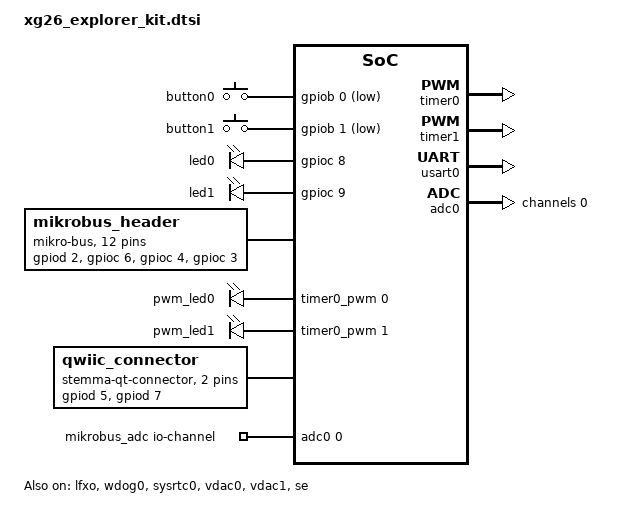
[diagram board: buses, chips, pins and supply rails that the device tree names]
/*
 * Copyright The Zephyr Project Contributors
 *
 * SPDX-License-Identifier: Apache-2.0
 */

#include <dt-bindings/adc/silabs-adc.h>
#include <zephyr/dt-bindings/input/input-event-codes.h>
#include <zephyr/dt-bindings/pwm/pwm.h>
#include <zephyr/dt-bindings/regulator/silabs_dcdc.h>
#include "xg26_explorer_kit-pinctrl.dtsi"

/ {
	chosen {
		zephyr,code-partition = &slot0_partition;
		zephyr,console = &usart0;
		zephyr,flash = &flash0;
		zephyr,shell-uart = &usart0;
		zephyr,sram = &sram0;
		zephyr,uart-pipe = &usart0;
	};

	aliases {
		led0 = &led0;
		led1 = &led1;
		pwm-led0 = &pwm_led0;
		pwm-led1 = &pwm_led1;
		sw0 = &button0;
		sw1 = &button1;
		watchdog0 = &wdog0;

		/* If enabled, MCUboot uses this for recovery mode entrance */
		mcuboot-led0 = &led0;
		mcuboot-button0 = &button0;
	};

	buttons {
		compatible = "gpio-keys";

		button0: button_0 {
			gpios = <&gpiob 0 GPIO_ACTIVE_LOW>;
			zephyr,code = <INPUT_KEY_0>;
		};

		button1: button_1 {
			gpios = <&gpiob 1 GPIO_ACTIVE_LOW>;
			zephyr,code = <INPUT_KEY_1>;
		};
	};

	leds {
		compatible = "gpio-leds";

		led0: led_0 {
			gpios = <&gpioc 8 GPIO_ACTIVE_HIGH>;
		};

		led1: led_1 {
			gpios = <&gpioc 9 GPIO_ACTIVE_HIGH>;
		};
	};

	mikrobus_header: mikrobus-connector {
		compatible = "mikro-bus";
		#gpio-cells = <2>;
		gpio-map-mask = <0xffffffff 0>;
		gpio-map-pass-thru = <0 GPIO_DT_FLAGS_MASK>;
		gpio-map = <0 0 &gpiod 2 0>,  /* AN   */
			   <1 0 &gpioc 6 0>,  /* RST  */
			   <2 0 &gpioc 4 0>,  /* CS   */
			   <3 0 &gpioc 3 0>,  /* SCK  */
			   <4 0 &gpioc 1 0>,  /* MISO */
			   <5 0 &gpioc 2 0>,  /* MOSI */
			   <6 0 &gpioa 7 0>,  /* PWM  */
			   <7 0 &gpioc 0 0>,  /* INT  */
			   <8 0 &gpioa 5 0>,  /* RX   */
			   <9 0 &gpioa 4 0>,  /* TX   */
			   <10 0 &gpiod 5 0>, /* SCL  */
			   <11 0 &gpiod 7 0>; /* SDA  */
	};

	pwmleds {
		compatible = "pwm-leds";

		pwm_led0: pwm_led_0 {
			pwms = <&timer0_pwm 0 PWM_MSEC(20) PWM_POLARITY_NORMAL>;
		};

		pwm_led1: pwm_led_1 {
			pwms = <&timer0_pwm 1 PWM_MSEC(20) PWM_POLARITY_NORMAL>;
		};
	};

	qwiic_connector: stemma-qt-connector {
		compatible = "stemma-qt-connector";
		#gpio-cells = <2>;
		gpio-map-mask = <0xffffffff 0>;
		gpio-map-pass-thru = <0 GPIO_DT_FLAGS_MASK>;
		gpio-map = <0 0 &gpiod 5 0>, /* SCL */
			   <1 0 &gpiod 7 0>; /* SDA */
	};

	mikrobus_adc: zephyr,user {
		io-channels = <&adc0 0>;
	};
};

&timer0 {
	status = "okay";

	timer0_pwm: pwm {
		pinctrl-0 = <&timer0_default>;
		pinctrl-names = "default";
		status = "okay";
	};
};


&timer1 {
	status = "okay";

	zephyr_pwm: timer1_pwm: pwm {
		pinctrl-0 = <&timer1_default>;
		pinctrl-names = "default";
		status = "okay";
	};
};

&cpu0 {
	clock-frequency = <DT_FREQ_M(78)>;
};

&itm {
	pinctrl-0 = <&itm_default>;
	pinctrl-names = "default";
	swo-ref-frequency = <DT_FREQ_M(78)>;
};

&dcdc {
	regulator-boot-on;
	regulator-initial-mode = <SILABS_DCDC_MODE_BUCK>;
	status = "okay";
};

&hfrcodpll {
	clock-frequency = <DT_FREQ_M(78)>;
	clocks = <&hfxo>;
	dpll-autorecover;
	dpll-edge = "fall";
	dpll-lock = "phase";
	dpll-m = <1919>;
	dpll-n = <3839>;
};

&lfxo {
	ctune = <25>;
	precision = <50>;
	status = "okay";
};

&em23grpaclk {
	clocks = <&lfxo>;
};

&em4grpaclk {
	clocks = <&lfxo>;
};

&lcdclk {
	clocks = <&lfxo>;
};

&sysrtcclk {
	clocks = <&lfxo>;
};

&wdog0clk {
	clocks = <&lfxo>;
};

&wdog1clk {
	clocks = <&lfxo>;
};

&usart0 {
	pinctrl-0 = <&usart0_default>;
	pinctrl-names = "default";
	status = "okay";
};

&usart1 {
	pinctrl-0 = <&usart1_default>;
	pinctrl-names = "default";
	status = "disabled";
};

&eusart1 {
	#address-cells = <1>;
	#size-cells = <0>;
	cs-gpios = <&gpioc 4 GPIO_ACTIVE_LOW>;
	pinctrl-0 = <&eusart1_default>;
	pinctrl-names = "default";
	status = "disabled";
};

&i2c0 {
	pinctrl-0 = <&i2c0_default>;
	pinctrl-names = "default";
	status = "disabled";
};

&wdog0 {
	status = "okay";
};

&gpio {
	status = "okay";
};

&gpioa {
	status = "okay";
};

&gpiob {
	status = "okay";
};

&gpioc {
	status = "okay";
};

&gpiod {
	status = "okay";
};

&sysrtc0 {
	status = "okay";
};

&adc0 {
	pinctrl-0 = <&iadc0_default>;
	pinctrl-names = "default";
	#address-cells = <1>;
	#size-cells = <0>;
	status = "okay";

	channel@0 {
		reg = <0>;
		zephyr,acquisition-time = <ADC_ACQ_TIME_DEFAULT>;
		zephyr,gain = "ADC_GAIN_1";
		zephyr,input-positive = <IADC_INPUT_PD2>;
		zephyr,reference = "ADC_REF_VDD_1";
		zephyr,resolution = <12>;
		zephyr,vref-mv = <3300>;
	};
};

&vdac0 {
	status = "okay";
};

&vdac1 {
	status = "okay";
};

&se {
	status = "okay";
};

&flash0 {
	partitions {
		compatible = "fixed-partitions";
		#address-cells = <1>;
		#size-cells = <1>;

		/* Reserve 48 KiB for the bootloader */
		boot_partition: partition@0 {
			reg = <0x00000000 DT_SIZE_K(48)>;
			label = "mcuboot";
			read-only;
		};

		/* Reserve 1560 KiB for the application in slot 0 */
		slot0_partition: partition@c000 {
			reg = <0x0000c000 DT_SIZE_K(1560)>;
			label = "image-0";
		};

		/* Reserve 1560 KiB for the application in slot 1 */
		slot1_partition: partition@192000 {
			reg = <0x00192000 DT_SIZE_K(1560)>;
			label = "image-1";
		};

		/* Set 32 KiB of storage at the end of the 3200 KiB of flash */
		storage_partition: partition@318000 {
			reg = <0x00318000 DT_SIZE_K(32)>;
			label = "storage";
		};
	};
};

mikrobus_i2c: &i2c0 {};

mikrobus_spi: &eusart1 {};

mikrobus_uart: &usart1 {};

zephyr_i2c: &i2c0 {};

zephyr_spi: &eusart1 {};
